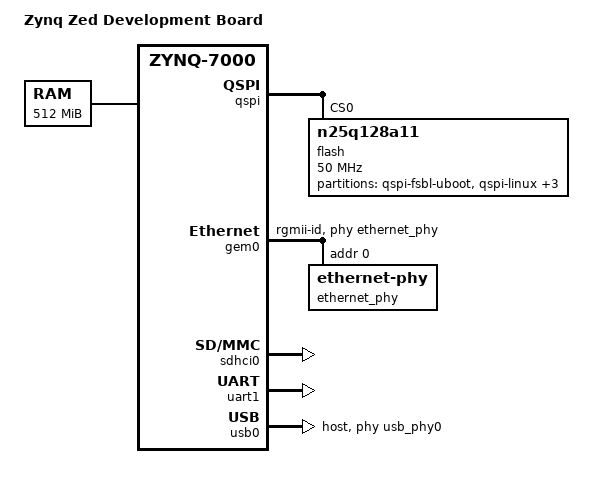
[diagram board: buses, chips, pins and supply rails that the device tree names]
/*
 *  Copyright (C) 2011 - 2014 Xilinx
 *  Copyright (C) 2012 National Instruments Corp.
 *
 * This software is licensed under the terms of the GNU General Public
 * License version 2, as published by the Free Software Foundation, and
 * may be copied, distributed, and modified under those terms.
 *
 * This program is distributed in the hope that it will be useful,
 * but WITHOUT ANY WARRANTY; without even the implied warranty of
 * MERCHANTABILITY or FITNESS FOR A PARTICULAR PURPOSE.  See the
 * GNU General Public License for more details.
 */
/dts-v1/;
/include/ "zynq-7000.dtsi"

/ {
	model = "Zynq Zed Development Board";
	compatible = "xlnx,zynq-zed", "xlnx,zynq-7000";

	aliases {
		ethernet0 = &gem0;
		serial0 = &uart1;
		spi0 = &qspi;
	};

	memory {
		device_type = "memory";
		reg = <0x0 0x20000000>;
	};

	chosen {
		bootargs = "root=/dev/ram rw earlyprintk";
		stdout-path = "serial0:115200n8";
	};

	usb_phy0: phy0 {
		compatible = "ulpi-phy";
		#phy-cells = <0>;
		reg = <0xe0002000 0x1000>;
		view-port = <0x0170>;
		drv-vbus;
	};
};

&qspi {
	status = "okay";
	is-dual = <0>;
	num-cs = <1>;
	flash@0 {
		compatible = "n25q128a11";
		reg = <0x0>;
		spi-tx-bus-width = <1>;
		spi-rx-bus-width = <4>;
		spi-max-frequency = <50000000>;
		#address-cells = <1>;
		#size-cells = <1>;
		partition@qspi-fsbl-uboot {
			label = "qspi-fsbl-uboot";
			reg = <0x0 0x100000>;
		};
		partition@qspi-linux {
			label = "qspi-linux";
			reg = <0x100000 0x500000>;
		};
		partition@qspi-device-tree {
			label = "qspi-device-tree";
			reg = <0x600000 0x20000>;
		};
		partition@qspi-rootfs {
			label = "qspi-rootfs";
			reg = <0x620000 0x5E0000>;
		};
		partition@qspi-bitstream {
			label = "qspi-bitstream";
			reg = <0xC00000 0x400000>;
		};
	};
};

&clkc {
	ps-clk-frequency = <33333333>;
};

&gem0 {
	status = "okay";
	phy-mode = "rgmii-id";
	phy-handle = <&ethernet_phy>;

	ethernet_phy: ethernet-phy@0 {
		reg = <0>;
	};
};

&sdhci0 {
	status = "okay";
};

&uart1 {
	status = "okay";
};

&usb0 {
	status = "okay";
	dr_mode = "host";
	usb-phy = <&usb_phy0>;
};
